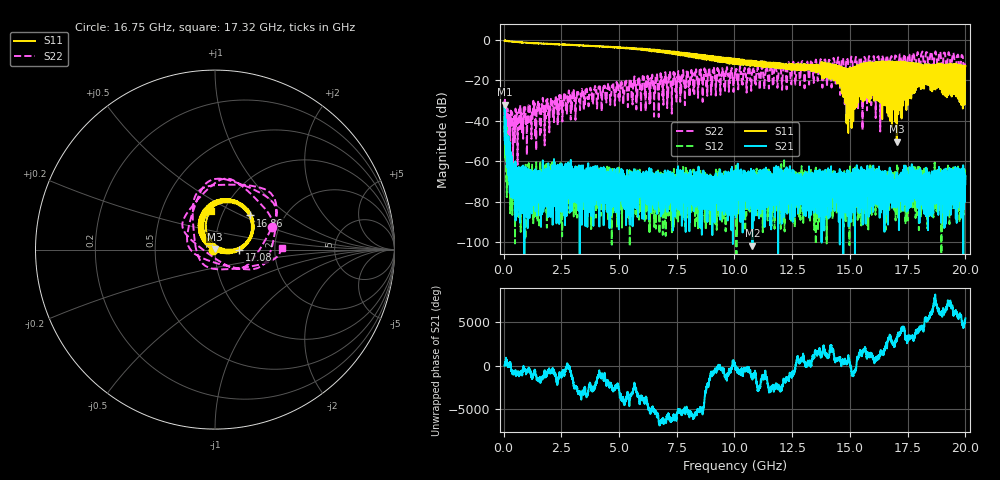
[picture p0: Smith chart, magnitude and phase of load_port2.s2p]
!Agilent Technologies,E8364A,US41440322,A.04.87.01
!Agilent E8364A: A.04.87.01
!Date: Tuesday, July 16, 2024 13:07:25
!Correction: S11(Full 2 Port SOLT,1,2) S21(Full 2 Port SOLT,1,2) S12(Full 2 Port SOLT,1,2) S22(Full 2 Port SOLT,1,2)
!S2P File: Measurements: S11, S21, S12, S22:
# Hz S  dB  R 50
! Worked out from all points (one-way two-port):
!   6401 points, 45 MHz to 20 GHz, reference 50 ohm
!   highest |S21| = -31.89 dB at 54.35 MHz (marker M1); lowest = -101.7 dB at 10.78 GHz (marker M2)
!   lowest |S11| = -50.2 dB at 17.03 GHz (marker M3), VSWR 1.01, Z = 50 + j0.31 ohm
!   |S11| at or under -10 dB: 10.30312 GHz to 10.35326 GHz (50.15 MHz wide, 0.486 % of centre); 10.44 GHz to 10.64 GHz (202.5 MHz wide, 1.92 % of centre); 10.64 GHz to end of sweep (the widest 3 of 24)
!   |S22| runs from -65.4 to -5.6 dB; largest |S21 - S12| = 0.025
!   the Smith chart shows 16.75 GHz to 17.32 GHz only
!   S11 on the Smith chart (normalised r, x): 16.75 GHz: 0.98, -0.00; 16.86 GHz: 1.36, +0.56; 17.08 GHz: 1.31, -0.00; 17.32 GHz: 0.87, +0.39
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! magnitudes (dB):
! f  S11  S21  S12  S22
! 45 MHz  -0.3  -49.3  -32.1  -30.0
! 54.35 MHz  -0.3  -31.9  -42.8  -32.2
! 232.1 MHz  -0.6  -52.0  -58.6  -37.5
! 540.8 MHz  -1.0  -63.1  -68.5  -39.5
! 3.372 GHz  -2.7  -72.9  -69.0  -26.8
! 6.699 GHz  -5.6  -77.8  -78.5  -22.0
! 10.02 GHz  -9.6  -74.5  -72.2  -15.4
! 10.78 GHz  -10.3  -101.7  -68.8  -16.1
! 13.35 GHz  -12.1  -78.4  -70.6  -10.7
! 14.33 GHz  -12.2  -65.6  -74.8  -10.4
! 14.93 GHz  -46.0  -70.2  -73.6  -13.0
! 15.53 GHz  -11.6  -75.0  -67.6  -17.3
! 16.68 GHz  -37.9  -69.6  -82.8  -19.5
! 16.75 GHz  -40.0  -71.1  -64.3  -9.3
! 16.86 GHz  -11.3  -75.1  -72.2  -14.5
! 17.03 GHz  -50.2  -65.5  -70.8  -10.4
! 17.08 GHz  -17.5  -67.6  -87.9  -20.0
! 17.32 GHz  -13.3  -75.1  -70.8  -8.6
! 18.01 GHz  -18.2  -73.9  -72.7  -17.7
! 18.36 GHz  -19.3  -68.7  -73.3  -7.8
! 19.8 GHz  -13.5  -83.5  -73.2  -12.2
! 20 GHz  -12.8  -71.3  -67.3  -10.1
